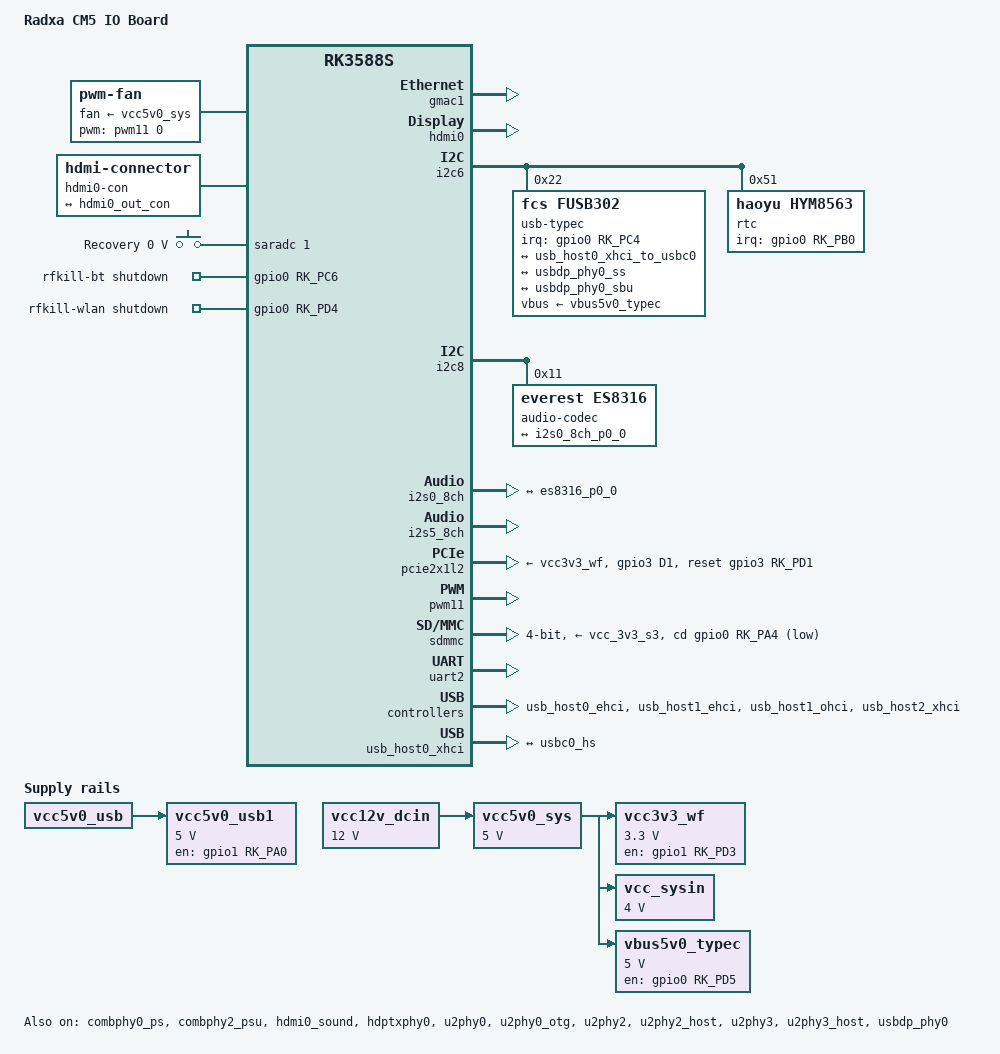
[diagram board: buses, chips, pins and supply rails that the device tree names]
// SPDX-License-Identifier: (GPL-2.0+ OR MIT)
/*
 * Copyright (c) 2025 Radxa Computer (Shenzhen) Co., Ltd.
 * Copyright (c) 2025 Joseph Kogut <joseph.kogut@gmail.com>
 */

/*
 * CM5 IO Board schematic
 * https://dl.radxa.com/cm5/io_board_v2200/radxa_cm5_io_board_v2200_schematic.pdf
 */

/dts-v1/;

#include <dt-bindings/gpio/gpio.h>
#include <dt-bindings/input/input.h>
#include <dt-bindings/pwm/pwm.h>
#include <dt-bindings/soc/rockchip,vop2.h>
#include <dt-bindings/usb/pd.h>
#include "rk3588s-radxa-cm5.dtsi"

/ {
	model = "Radxa CM5 IO Board";
	compatible = "radxa,cm5-io", "radxa,cm5", "rockchip,rk3588s";

	aliases {
		mmc1 = &sdmmc;
	};

	chosen {
		stdout-path = "serial2:1500000n8";
	};

	fan: fan {
		compatible = "pwm-fan";
		#cooling-cells = <2>;
		cooling-levels = <0 64 128 192 255>;
		fan-supply = <&vcc5v0_sys>;
		pwms = <&pwm11 0 60000 0>;
	};

	hdmi0-con {
		compatible = "hdmi-connector";
		type = "a";

		port {
			hdmi0_con_in: endpoint {
				remote-endpoint = <&hdmi0_out_con>;
			};
		};
	};

	keys-1 {
		compatible = "adc-keys";
		io-channels = <&saradc 1>;
		io-channel-names = "buttons";
		keyup-threshold-microvolt = <1800000>;
		poll-interval = <100>;

		button-1 {
			label = "Recovery";
			linux,code = <KEY_VENDOR>;
			press-threshold-microvolt = <0>;
		};
	};

	vcc12v_dcin: regulator-12v0 {
		compatible = "regulator-fixed";
		regulator-name = "vcc12v_dcin";
		regulator-always-on;
		regulator-boot-on;
		regulator-min-microvolt = <12000000>;
		regulator-max-microvolt = <12000000>;
	};

	vcc3v3_wf: regulator-3v3 {
		compatible = "regulator-fixed";
		enable-active-high;
		gpio = <&gpio1 RK_PD3 GPIO_ACTIVE_HIGH>;
		pinctrl-names = "default";
		pinctrl-0 = <&wifi_pwr_en>;
		regulator-name = "vcc3v3_wf";
		regulator-min-microvolt = <3300000>;
		regulator-max-microvolt = <3300000>;
		vin-supply = <&vcc5v0_sys>;
	};

	vcc_sysin: regulator-4v0 {
		compatible = "regulator-fixed";
		regulator-name = "vcc_sysin";
		regulator-always-on;
		regulator-boot-on;
		regulator-min-microvolt = <4000000>;
		regulator-max-microvolt = <4000000>;
		vin-supply = <&vcc5v0_sys>;
	};

	vcc5v0_sys: vcc5v0_usb: regulator-5v0-0 {
		compatible = "regulator-fixed";
		regulator-name = "vcc5v0_sys";
		regulator-always-on;
		regulator-boot-on;
		regulator-min-microvolt = <5000000>;
		regulator-max-microvolt = <5000000>;
		vin-supply = <&vcc12v_dcin>;
	};

	vcc5v0_usb1: regulator-5v0-1 {
		compatible = "regulator-fixed";
		enable-active-high;
		gpio = <&gpio1 RK_PA0 GPIO_ACTIVE_HIGH>;
		pinctrl-names = "default";
		pinctrl-0 = <&usb_host_pwren_h>;
		regulator-name = "vcc5v0_usb1";
		regulator-min-microvolt = <5000000>;
		regulator-max-microvolt = <5000000>;
		vin-supply = <&vcc5v0_usb>;
	};

	vbus5v0_typec: regulator-5v0-2 {
		compatible = "regulator-fixed";
		enable-active-high;
		gpio = <&gpio0 RK_PD5 GPIO_ACTIVE_HIGH>;
		pinctrl-names = "default";
		pinctrl-0 = <&typec5v_pwren_h>;
		regulator-name = "vbus5v0_typec";
		regulator-min-microvolt = <5000000>;
		regulator-max-microvolt = <5000000>;
		vin-supply = <&vcc5v0_sys>;
	};

	rfkill-bt {
		compatible = "rfkill-gpio";
		pinctrl-names = "default";
		pinctrl-0 = <&host_wake_bt_h>;
		radio-type = "bluetooth";
		shutdown-gpios = <&gpio0 RK_PC6 GPIO_ACTIVE_HIGH>;
	};

	rfkill-wlan {
		compatible = "rfkill-gpio";
		pinctrl-names = "default";
		pinctrl-0 = <&bt_reg_on_h>;
		radio-type = "wlan";
		shutdown-gpios = <&gpio0 RK_PD4 GPIO_ACTIVE_HIGH>;
	};

	sound {
		compatible = "audio-graph-card";
		label = "rk3588-es8316";
		dais = <&i2s0_8ch_p0>;
		routing = "MIC2", "Mic Jack",
			  "Headphones", "HPOL",
			  "Headphones", "HPOR";
		widgets = "Microphone", "Mic Jack",
			  "Headphone", "Headphones";
	};
};

&combphy0_ps {
	status = "okay";
};

&combphy2_psu {
	phy-supply = <&vcc5v0_usb1>;
	status = "okay";
};

&gmac1 {
	status = "okay";
};

&hdmi0 {
	status = "okay";
};

&hdmi0_in {
	hdmi0_in_vp0: endpoint {
		remote-endpoint = <&vp0_out_hdmi0>;
	};
};

&hdmi0_out {
	hdmi0_out_con: endpoint {
		remote-endpoint = <&hdmi0_con_in>;
	};
};

&hdmi0_sound {
	status = "okay";
};

&hdptxphy0 {
	status = "okay";
};

&i2c6 {
	pinctrl-names = "default";
	pinctrl-0 = <&i2c6m3_xfer>;
	status = "okay";

	usb-typec@22 {
		compatible = "fcs,fusb302";
		reg = <0x22>;
		interrupt-parent = <&gpio0>;
		interrupts = <RK_PC4 IRQ_TYPE_LEVEL_LOW>;
		pinctrl-names = "default";
		pinctrl-0 = <&cc_int0_l>;
		vbus-supply = <&vbus5v0_typec>;

		connector {
			compatible = "usb-c-connector";
			data-role = "dual";
			label = "USB-C";
			/* fusb302 supports PD Rev 2.0 Ver 1.2 */
			pd-revision = /bits/ 8 <0x2 0x0 0x1 0x2>;
			power-role = "source";
			source-pdos =
				<PDO_FIXED(5000, 3000, PDO_FIXED_USB_COMM)>;

			ports {
				#address-cells = <1>;
				#size-cells = <0>;

				port@0 {
					reg = <0>;

					usbc0_hs: endpoint {
						remote-endpoint = <&usb_host0_xhci_to_usbc0>;
					};
				};

				port@1 {
					reg = <1>;

					usbc0_ss: endpoint {
						remote-endpoint = <&usbdp_phy0_ss>;
					};
				};

				port@2 {
					reg = <2>;

					usbc0_sbu: endpoint {
						remote-endpoint = <&usbdp_phy0_sbu>;
					};
				};
			};
		};
	};

	rtc@51 {
		compatible = "haoyu,hym8563";
		reg = <0x51>;
		#clock-cells = <0>;
		clock-output-names = "rtc_32k_in";
		interrupt-parent = <&gpio0>;
		interrupts = <RK_PB0 IRQ_TYPE_LEVEL_LOW>;
		pinctrl-names = "default";
		pinctrl-0 = <&rtc_int_l>;
		wakeup-source;
	};
};

&i2c8 {
	pinctrl-names = "default";
	pinctrl-0 = <&i2c8m2_xfer>;
	status = "okay";

	audio-codec@11 {
		compatible = "everest,es8316";
		reg = <0x11>;
		assigned-clocks = <&cru I2S0_8CH_MCLKOUT>;
		assigned-clock-rates = <12288000>;
		clocks = <&cru I2S0_8CH_MCLKOUT>;
		clock-names = "mclk";
		#sound-dai-cells = <0>;

		port {
			es8316_p0_0: endpoint {
				remote-endpoint = <&i2s0_8ch_p0_0>;
			};
		};
	};
};

&i2s0_8ch {
	pinctrl-names = "default";
	pinctrl-0 = <&i2s0_lrck
		     &i2s0_mclk
		     &i2s0_sclk
		     &i2s0_sdi0
		     &i2s0_sdo0>;
	status = "okay";

	i2s0_8ch_p0: port {
		i2s0_8ch_p0_0: endpoint {
			dai-format = "i2s";
			mclk-fs = <256>;
			remote-endpoint = <&es8316_p0_0>;
		};
	};
};

&i2s5_8ch {
	status = "okay";
};

&package_thermal {
	polling-delay = <1000>;

	trips {
		package_fan0: package-fan0 {
			hysteresis = <2000>;
			temperature = <55000>;
			type = "active";
		};

		package_fan1: package-fan1 {
			hysteresis = <2000>;
			temperature = <65000>;
			type = "active";
		};
	};

	cooling-maps {
		map0 {
			cooling-device = <&fan THERMAL_NO_LIMIT 1>;
			trip = <&package_fan0>;
		};

		map1 {
			cooling-device = <&fan 2 THERMAL_NO_LIMIT>;
			trip = <&package_fan1>;
		};
	};
};

&pcie2x1l2 {
	pinctrl-names = "default";
	pinctrl-0 = <&pcie20x1_2_perstn_m0>;
	reset-gpios = <&gpio3 RK_PD1 GPIO_ACTIVE_HIGH>;
	vpcie3v3-supply = <&vcc3v3_wf>;
	status = "okay";
};

&pinctrl {
	pcie {
		pcie20x1_2_perstn_m0: pcie20x1-2-perstn-m0 {
			rockchip,pins = <3 RK_PD1 RK_FUNC_GPIO &pcfg_pull_none>;
		};

		wifi_pwr_en: wifi-pwr-en {
			rockchip,pins = <1 RK_PD3 RK_FUNC_GPIO &pcfg_pull_none>;
		};
	};

	rfkill {
		bt_reg_on_h: bt-reg-on-h {
			rockchip,pins = <0 RK_PD4 RK_FUNC_GPIO &pcfg_pull_down>;
		};

		host_wake_bt_h: host-wake-bt-h {
			rockchip,pins = <0 RK_PC6 RK_FUNC_GPIO &pcfg_pull_down>;
		};
	};

	rtc {
		rtc_int_l: rtc-int-l {
			rockchip,pins = <0 RK_PB0 RK_FUNC_GPIO &pcfg_pull_none>;
		};
	};

	usb {
		cc_int0_l: cc-int0-l {
			rockchip,pins = <0 RK_PC4 RK_FUNC_GPIO &pcfg_pull_none>;
		};

		usb_host_pwren_h: usb-host-pwren-h {
			rockchip,pins = <1 RK_PA0 RK_FUNC_GPIO &pcfg_pull_none>;
		};

		usbc_sbu_dc: usbc-sbu-dc {
			rockchip,pins = <3 RK_PC4 RK_FUNC_GPIO &pcfg_pull_none>,
					<3 RK_PD4 RK_FUNC_GPIO &pcfg_pull_none>;
		};

		typec5v_pwren_h: typec5v-pwren-h {
			rockchip,pins = <0 RK_PD5 RK_FUNC_GPIO &pcfg_pull_none>;
		};
	};
};

&pwm11 {
	pinctrl-names = "default";
	pinctrl-0 = <&pwm11m3_pins>;
	status = "okay";
};

&sdmmc {
	bus-width = <4>;
	cap-mmc-highspeed;
	cap-sd-highspeed;
	cd-gpios = <&gpio0 RK_PA4 GPIO_ACTIVE_LOW>;
	disable-wp;
	no-sdio;
	pinctrl-names = "default";
	pinctrl-0 = <&sdmmc_bus4 &sdmmc_clk &sdmmc_cmd>;
	sd-uhs-sdr104;
	vmmc-supply = <&vcc_3v3_s3>;
	vqmmc-supply = <&vccio_sd_s0>;
	status = "okay";
};

&u2phy0 {
	status = "okay";
};

&u2phy0_otg {
	status = "okay";
};

&u2phy2 {
	status = "okay";
};

&u2phy2_host {
	phy-supply = <&vcc5v0_usb1>;
	status = "okay";
};

&u2phy3 {
	status = "okay";
};

&u2phy3_host {
	phy-supply = <&vcc5v0_usb1>;
	status = "okay";
};

&uart2 {
	pinctrl-names = "default";
	pinctrl-0 = <&uart2m0_xfer>;
	status = "okay";
};

&usb_host0_ehci {
	status = "okay";
};

&usb_host0_xhci {
	usb-role-switch;
	status = "okay";

	port {
		usb_host0_xhci_to_usbc0: endpoint {
			remote-endpoint = <&usbc0_hs>;
		};
	};
};

&usb_host1_ehci {
	status = "okay";
};

&usb_host1_ohci {
	status = "okay";
};

&usb_host2_xhci {
	status = "okay";
};

&usbdp_phy0 {
	mode-switch;
	orientation-switch;
	pinctrl-names = "default";
	pinctrl-0 = <&usbc_sbu_dc>;
	sbu1-dc-gpios = <&gpio3 RK_PC4 GPIO_ACTIVE_HIGH>;
	sbu2-dc-gpios = <&gpio3 RK_PD4 GPIO_ACTIVE_HIGH>;
	status = "okay";

	port {
		#address-cells = <1>;
		#size-cells = <0>;

		usbdp_phy0_ss: endpoint@0 {
			reg = <0>;
			remote-endpoint = <&usbc0_ss>;
		};

		usbdp_phy0_sbu: endpoint@1 {
			reg = <1>;
			remote-endpoint = <&usbc0_sbu>;
		};
	};
};

&vp0 {
	vp0_out_hdmi0: endpoint@ROCKCHIP_VOP2_EP_HDMI0 {
		reg = <ROCKCHIP_VOP2_EP_HDMI0>;
		remote-endpoint = <&hdmi0_in_vp0>;
	};
};
